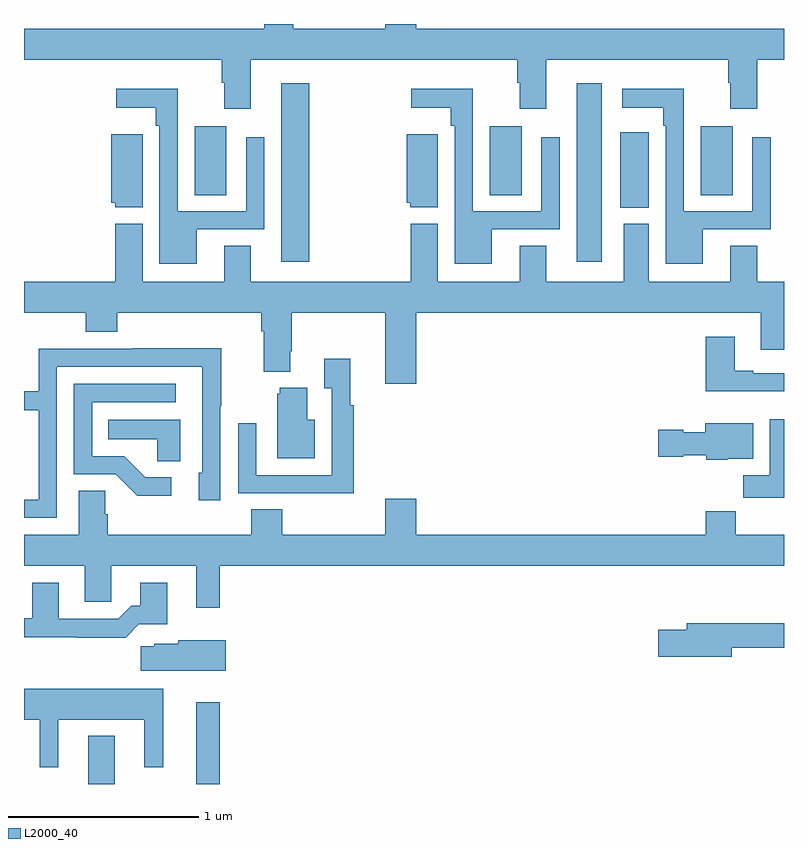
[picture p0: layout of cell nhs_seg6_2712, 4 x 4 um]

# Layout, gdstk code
import gdstk
lib = gdstk.Library(unit=1e-6, precision=1e-09)
def R(c, l, rs):  # rectangles x0, y0, x1, y1
    for r in rs: c.add(gdstk.rectangle(r[:2], r[2:], *l))
def P(c, l, *ps):  # polygons
    for p in ps: c.add(gdstk.Polygon(p, *l))
L2000_40 = (2000, 40)

nhs_seg6_2712 = lib.new_cell('nhs_seg6_2712')
R(nhs_seg6_2712, L2000_40, [(271.337,967.5,271.477,967.753), (271.907,967.5,272.029,967.93), (272.354,970.248,272.501,971.188), (273.908,970.248,274.042,971.188), (274.139,970.534,274.288,970.93), (271.898,970.6,272.065,970.963), (273.452,970.6,273.619,970.963), (274.562,970.6,274.729,970.963)])
P(nhs_seg6_2712, L2000_40, [(272.194,971.312),(273.596,971.312),(273.596,971.192),(273.608,971.192),(273.608,971.055),(273.748,971.055),(273.748,971.312),(274.706,971.312),(274.706,971.192),(274.718,971.192),(274.718,971.055),(274.858,971.055),(274.858,971.312),(275,971.312),(275,971.476),(273.064,971.476),(273.064,971.5),(272.9,971.5),(272.9,971.476),(272.416,971.476),(272.416,971.5),(272.264,971.5),(272.264,971.476),(271,971.476),(271,971.312),(272.042,971.312),(272.042,971.192),(272.054,971.192),(272.054,971.055),(272.194,971.055)],
  [(273.463,970.419),(273.819,970.419),(273.819,970.903),(273.723,970.903),(273.723,970.515),(273.363,970.515),(273.363,971.158),(273.039,971.158),(273.039,971.06),(273.247,971.06),(273.247,970.964),(273.267,970.964),(273.267,970.238),(273.463,970.238)],
  [(274.573,970.419),(274.929,970.419),(274.929,970.903),(274.833,970.903),(274.833,970.515),(274.473,970.515),(274.473,971.158),(274.149,971.158),(274.149,971.06),(274.365,971.06),(274.365,970.964),(274.377,970.964),(274.377,970.238),(274.573,970.238)],
  [(271.909,970.419),(272.265,970.419),(272.265,970.903),(272.169,970.903),(272.169,970.515),(271.809,970.515),(271.809,971.158),(271.485,971.158),(271.485,971.06),(271.693,971.06),(271.693,970.964),(271.713,970.964),(271.713,970.238),(271.909,970.238)],
  [(273.178,970.921),(273.014,970.921),(273.014,970.56),(273.033,970.56),(273.033,970.535),(273.178,970.535)],
  [(271.624,970.921),(271.46,970.921),(271.46,970.56),(271.479,970.56),(271.479,970.535),(271.624,970.535)],
  [(273.064,969.98),(274.877,969.98),(274.877,969.786),(275,969.786),(275,970.144),(274.858,970.144),(274.858,970.334),(274.718,970.334),(274.718,970.144),(274.288,970.144),(274.288,970.449),(274.157,970.449),(274.157,970.144),(273.748,970.144),(273.748,970.334),(273.608,970.334),(273.608,970.144),(273.178,970.144),(273.178,970.45),(273.035,970.45),(273.035,970.144),(272.194,970.144),(272.194,970.334),(272.054,970.334),(272.054,970.144),(271.624,970.144),(271.624,970.45),(271.481,970.45),(271.481,970.144),(271,970.144),(271,969.98),(271.325,969.98),(271.325,969.881),(271.49,969.881),(271.49,969.98),(272.249,969.98),(272.249,969.884),(272.261,969.884),(272.261,969.671),(272.401,969.671),(272.401,969.778),(272.409,969.778),(272.409,969.98),(272.9,969.98),(272.9,969.606),(273.064,969.606)],
  [(275,969.663),(274.837,969.663),(274.837,969.676),(274.741,969.676),(274.741,969.853),(274.589,969.853),(274.589,969.566),(275,969.566)],
  [(271.173,969.696),(271.938,969.696),(271.938,969.138),(271.919,969.138),(271.919,968.994),(272.034,968.994),(272.034,969.487),(272.037,969.487),(272.037,969.794),(271.573,969.794),(271.573,969.792),(271.077,969.792),(271.077,969.567),(271,969.567),(271,969.466),(271.077,969.466),(271.077,968.997),(271,968.997),(271,968.901),(271.173,968.901)],
  [(272.735,969.494),(272.717,969.494),(272.717,969.739),(272.579,969.739),(272.579,969.583),(272.619,969.583),(272.619,969.126),(272.223,969.126),(272.223,969.4),(272.127,969.4),(272.127,969.03),(272.443,969.03),(272.443,969.029),(272.735,969.029)],
  [(271.774,969.114),(271.639,969.114),(271.528,969.225),(271.359,969.225),(271.359,969.51),(271.798,969.51),(271.798,969.606),(271.263,969.606),(271.263,969.129),(271.482,969.129),(271.595,969.017),(271.774,969.017)],
  [(272.53,969.418),(272.491,969.418),(272.491,969.586),(272.345,969.586),(272.345,969.555),(272.333,969.555),(272.333,969.215),(272.53,969.215)],
  [(275,969.421),(274.925,969.421),(274.925,969.124),(274.786,969.124),(274.786,969.006),(275,969.006)],
  [(271.822,969.418),(271.444,969.418),(271.444,969.314),(271.701,969.314),(271.701,969.199),(271.822,969.199)],
  [(274.704,969.212),(274.837,969.212),(274.837,969.4),(274.586,969.4),(274.586,969.352),(274.47,969.352),(274.47,969.365),(274.338,969.365),(274.338,969.223),(274.47,969.223),(274.47,969.23),(274.59,969.23),(274.59,969.206),(274.704,969.206)],
  [(272.029,968.648),(275,968.648),(275,968.812),(274.745,968.812),(274.745,968.936),(274.589,968.936),(274.589,968.812),(273.064,968.812),(273.064,969.001),(272.9,969.001),(272.9,968.812),(272.36,968.812),(272.36,968.945),(272.195,968.945),(272.195,968.812),(271.442,968.812),(271.442,968.921),(271.428,968.921),(271.428,969.044),(271.289,969.044),(271.289,968.812),(271,968.812),(271,968.648),(271.319,968.648),(271.319,968.458),(271.458,968.458),(271.458,968.648),(271.907,968.648),(271.907,968.427),(272.029,968.427)],
  [(271.605,968.34),(271.753,968.34),(271.753,968.56),(271.613,968.56),(271.613,968.437),(271.564,968.437),(271.497,968.37),(271.183,968.37),(271.183,968.56),(271.043,968.56),(271.043,968.373),(271,968.373),(271,968.272),(271.279,968.272),(271.279,968.27),(271.535,968.27)],
  [(274.726,968.218),(275,968.218),(275,968.347),(274.487,968.347),(274.487,968.313),(274.338,968.313),(274.338,968.171),(274.726,968.171)],
  [(272.062,968.257),(271.812,968.257),(271.812,968.239),(271.686,968.239),(271.686,968.225),(271.614,968.225),(271.614,968.096),(272.062,968.096)],
  [(271.18,967.838),(271.634,967.838),(271.634,967.587),(271.732,967.587),(271.732,968.002),(271,968.002),(271,967.838),(271.082,967.838),(271.082,967.587),(271.18,967.587)])

lib.write_gds('nhs_seg6_2712.gds')
